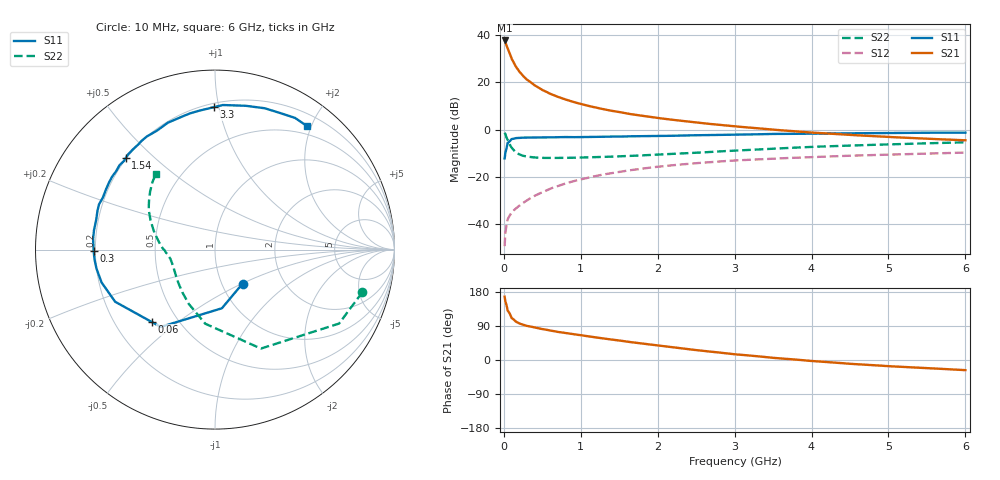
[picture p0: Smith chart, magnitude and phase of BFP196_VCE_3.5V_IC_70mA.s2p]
! Infineon Technologies  Discrete & RF Semiconductors
! BFP196
! VCE = 3.5 V,  IC =  70mA
! Common Emitter S-Parameters:  Jan 2016
# GHz  S  MA  R  50
!  f  S11  S21  S12  S22
! GHz  MAG  ANG  MAG  ANG  MAG  ANG  MAG  ANG
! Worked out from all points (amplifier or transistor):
!   210 points, 10 MHz to 6 GHz, reference 50 ohm
!   highest |S21| = 37.7 dB at 10 MHz (marker M1)
!   |S21| within 3 dB of that: start of sweep to 44.95 MHz
!   unconditionally stable (mu >= 1): 394.9 MHz to 4.462 GHz; 4.642 GHz to 4.809 GHz
!   at 185 MHz: K = 0.79, MSG = 29.0 dB, |S12| = -32.7 dB
!   at 1.52 GHz: K = 1.08, MAG = 10.8 dB, |S12| = -17.8 dB
!   at 6 GHz: K = 0.98, MSG = 2.6 dB, |S12| = -9.8 dB
!   S11 on the Smith chart (normalised r, x): 10 MHz: 1.25, -0.50; 60 MHz: 0.36, -0.40; 300 MHz: 0.19, -0.01; 1.54 GHz: 0.20, +0.41; 3.3 GHz: 0.23, +0.96; 6 GHz: 0.37, +1.94
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0.01  0.244 -51.0  76.8 167.2  0.0034 76.7  0.8549 -16.1
0.02  0.3291 -83.3  70.93 154.7  0.0065 71.1  0.8047 -30.8
0.05  0.5265 -125.1  52.03 130.2  0.0126 55.9  0.6079 -65.1
0.06  0.5358 -131.3  47.67 127.7  0.0135 54.5  0.5584 -69.7
0.1  0.6275 -152.4  31.71 111.1  0.0174 50.5  0.4164 -97.5
0.15  0.6578 -163.8  22.16 102.0  0.0209 52.5  0.3363 -115.7
0.2  0.6686 -170.8  16.95 96.6  0.0243 55.5  0.2993 -127.5
0.24  0.6724 -174.6  14.24 93.7  0.0273 57.3  0.282 -134.6
0.26  0.674 -176.3  13.13 92.3  0.0287 58.2  0.2761 -137.6
0.3  0.6762 -179.3  11.39 90.0  0.0316 60.0  0.2681 -142.3
0.4  0.6818 174.8  8.617 85.5  0.0395 62.7  0.2564 -151.1
0.5  0.6828 170.9  6.888 81.6  0.047 64.3  0.2514 -156.7
0.6  0.6823 166.1  5.746 77.9  0.0557 64.7  0.2506 -160.6
0.8  0.6936 158.7  4.33 71.2  0.0719 63.6  0.2516 -165.7
1.02  0.6943 150.8  3.411 64.7  0.0897 62.1  0.2558 -169.7
1.54  0.7118 134.4  2.283 50.3  0.13 55.3  0.2734 -176.5
2.02  0.7356 120.7  1.741 37.9  0.1642 48.2  0.2957 177.1
3.1  0.7829 94.5  1.132 13.5  0.2254 31.9  0.3641 161.3
3.3  0.7931 90.6  1.06 9.8  0.2338 29.0  0.3785 158.4
4.1  0.8212 76.5  0.844 -3.9  0.2647 19.0  0.4357 147.9
5.1  0.8454 63.3  0.685 -17.3  0.298 7.8  0.49 137.1
6  0.8582 53.1  0.592 -26.8  0.3254 -2.1  0.536 127.9
